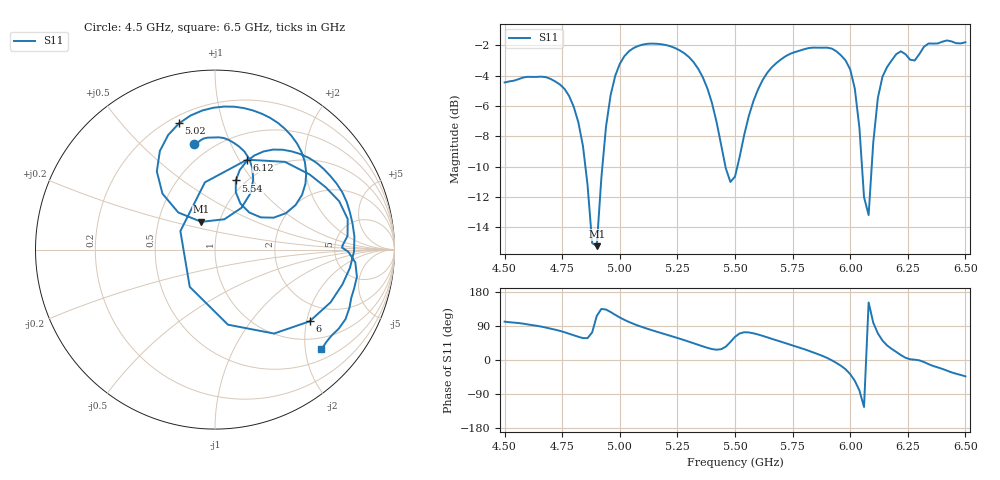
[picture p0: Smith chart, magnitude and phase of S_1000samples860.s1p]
! TOUCHSTONE file generated by CST MICROWAVE STUDIO
! Date and time: Sat Oct 29 15:16:17 2022
! Project name: L.cst
! Parameters = {Di=1.27; Epsilon_r=1.56; InnerDiameter=1.27; Length=2; Lf=10; Lg=60; OuterConductorThickness=0.2921; OuterDiameter=3.6; Wf=3; Wp=41.2; de=1.5; df=6.8; g=0.8; gx=0.466998; gy=2.8937; h=2.34; hf=1.524; px=12.2972; py=12.8; w=9.7; wx=11.8302; wy=9.90629}
! Header version: 2018
! Port assignment regex: !\s*Touchstone port\s*([0-9]+)\s*=\s*(CST MWS port|CST DS port)\s*([0-9]+|Zmin|Zmax)\s*\(\"(.*)\"\)(\s*mode\s*([0-9]+))?.*
! Touchstone port assignment:
! Touchstone port 1 = CST MWS port 1 ("")
# GHz S DB R 50
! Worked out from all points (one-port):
!   101 points, 4.5 GHz to 6.5 GHz, reference 50 ohm
!   lowest |S11| = -15.3 dB at 4.9 GHz (marker M1), VSWR 1.42, Z = 41 + j13.1 ohm
!   |S11| at or under -10 dB: 4.851 GHz to 4.924 GHz (73.82 MHz wide, 1.51 % of centre); 5.459 GHz to 5.51 GHz (51.78 MHz wide, 0.944 % of centre); 6.051 GHz to 6.093 GHz (42.22 MHz wide, 0.695 % of centre)
!   S11 on the Smith chart (normalised r, x): 4.5 GHz: 0.40, +0.74; 5.02 GHz: 0.24, +0.73; 5.54 GHz: 0.90, +0.83; 6 GHz: 1.47, -2.08; 6.12 GHz: 0.77, +1.08; 6.5 GHz: 0.72, -2.34
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4.5  -4.45 101.2
4.76  -4.88 73.3
4.84  -8.64 57.8
4.88  -15.05 72.9
4.9  -15.25 116.4
4.94  -7.38 133.2
5  -3.22 112.2
5.02  -2.72 105.9
5.12  -1.90 82.3
5.26  -2.34 56.2
5.38  -4.84 32.2
5.44  -8.58 28.6
5.5  -10.66 61.1
5.54  -7.91 73.2
5.64  -3.81 59.8
5.76  -2.45 36.4
5.92  -2.22 -0.8
6  -3.59 -37.2
6.04  -7.44 -80.2
6.06  -12.01 -124.1
6.08  -13.20 151.8
6.1  -8.43 98.5
6.12  -5.48 70.4
6.18  -3.00 29.4
6.22  -2.40 13.0
6.26  -2.95 2.0
6.34  -1.88 -10.9
6.5  -1.80 -43.1
